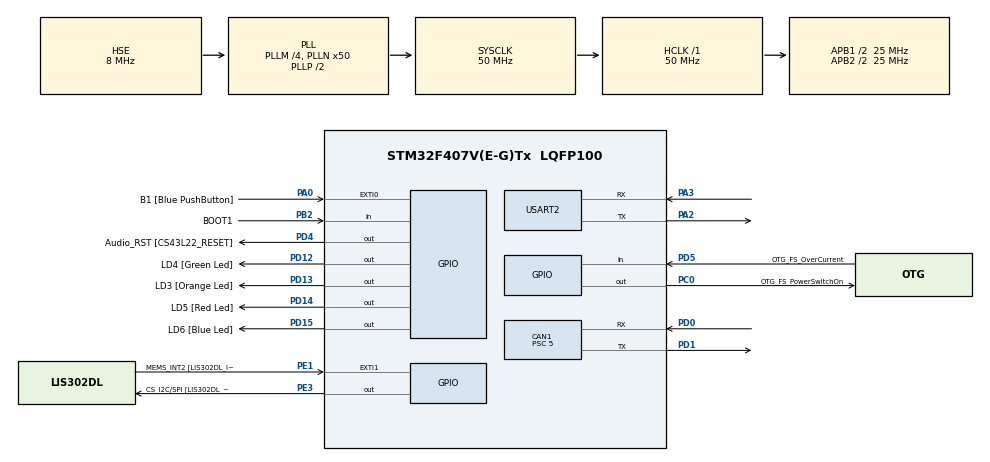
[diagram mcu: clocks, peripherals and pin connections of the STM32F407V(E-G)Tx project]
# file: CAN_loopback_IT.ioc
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CAN1.BS1=CAN_BS1_8TQ
CAN1.CalculateBaudRate=500000
CAN1.CalculateTimeBit=2000
CAN1.CalculateTimeQuantum=200.0
CAN1.Mode=CAN_MODE_LOOPBACK
CAN1.Prescaler=5
Mcu.Family=STM32F4
Mcu.Name=STM32F407V(E-G)Tx
Mcu.Package=LQFP100
NVIC.CAN1_RX0_IRQn=true\:0\:0\:false\:false\:true\:true\:true\:true
NVIC.CAN1_RX1_IRQn=true\:0\:0\:false\:false\:true\:true\:true\:true
NVIC.CAN1_SCE_IRQn=true\:0\:0\:false\:false\:true\:true\:true\:true
NVIC.CAN1_TX_IRQn=true\:0\:0\:false\:false\:true\:true\:true\:true
NVIC.PriorityGroup=NVIC_PRIORITYGROUP_0
PA0-WKUP.GPIO_Label=B1 [Blue PushButton]
PA0-WKUP.Signal=GPXTI0
PA10.GPIO_Label=OTG_FS_ID
PA10.GPIO_Mode=GPIO_MODE_AF_PP
PA10.GPIO_PuPd=GPIO_NOPULL
PA10.GPIO_Speed=GPIO_SPEED_FREQ_LOW
PA10.Signal=USB_OTG_FS_ID
PA11.GPIO_Label=OTG_FS_DM
PA11.GPIO_Mode=GPIO_MODE_AF_PP
PA11.GPIO_PuPd=GPIO_NOPULL
PA11.GPIO_Speed=GPIO_SPEED_FREQ_LOW
PA11.Signal=USB_OTG_FS_DM
PA12.GPIO_Label=OTG_FS_DP
PA12.GPIO_Mode=GPIO_MODE_AF_PP
PA12.GPIO_PuPd=GPIO_NOPULL
PA12.GPIO_Speed=GPIO_SPEED_FREQ_LOW
PA12.Signal=USB_OTG_FS_DP
PA13.GPIO_Label=SWDIO
PA13.Signal=SYS_JTMS-SWDIO
PA14.GPIO_Label=SWCLK
PA14.Signal=SYS_JTCK-SWCLK
PA2.Mode=Asynchronous
PA2.Signal=USART2_TX
PA3.Mode=Asynchronous
PA3.Signal=USART2_RX
PA4.GPIO_Label=I2S3_WS [CS43L22_LRCK]
PA4.GPIO_Mode=GPIO_MODE_AF_PP
PA4.GPIO_PuPd=GPIO_NOPULL
PA4.GPIO_Speed=GPIO_SPEED_FREQ_LOW
PA4.Signal=I2S3_WS
PA5.GPIO_Label=SPI1_SCK [LIS302DL_SCL/SPC]
PA5.GPIO_Mode=GPIO_MODE_AF_PP
PA5.GPIO_PuPd=GPIO_NOPULL
PA5.GPIO_Speed=GPIO_SPEED_FREQ_LOW
PA5.Signal=SPI1_SCK
PA6.GPIO_Label=SPI1_MISO [LIS302DL_SDO]
PA6.GPIO_Mode=GPIO_MODE_AF_PP
PA6.GPIO_PuPd=GPIO_NOPULL
PA6.GPIO_Speed=GPIO_SPEED_FREQ_LOW
PA6.Signal=SPI1_MISO
PA7.GPIO_Label=SPI1_MOSI [LIS302DL_SDA/SDI/SDO]
PA7.GPIO_Mode=GPIO_MODE_AF_PP
PA7.GPIO_PuPd=GPIO_NOPULL
PA7.GPIO_Speed=GPIO_SPEED_FREQ_LOW
PA7.Signal=SPI1_MOSI
PA9.GPIO_Label=VBUS_FS
PA9.GPIO_Mode=GPIO_MODE_INPUT
PA9.GPIO_PuPd=GPIO_NOPULL
PA9.Signal=USB_OTG_FS_VBUS
PB10.GPIO_Label=CLK_IN [MP45DT02_CLK]
PB10.GPIO_Mode=GPIO_MODE_AF_PP
PB10.GPIO_PuPd=GPIO_NOPULL
PB10.GPIO_Speed=GPIO_SPEED_FREQ_LOW
PB10.Signal=I2S2_CK
PB2.GPIO_Label=BOOT1
PB2.GPIO_Mode=GPIO_MODE_INPUT
PB2.GPIO_PuPd=GPIO_NOPULL
PB2.Signal=GPIO_Input
PB3.GPIO_Label=SWO
PB3.Signal=SYS_JTDO-SWO
PB6.GPIO_Label=Audio_SCL [CS43L22_SCL]
PB6.GPIO_Mode=GPIO_MODE_AF_OD
PB6.GPIO_PuPd=GPIO_NOPULL
PB6.GPIO_Speed=GPIO_SPEED_FREQ_LOW
PB6.Signal=I2C1_SCL
PB9.GPIO_Label=Audio_SDA [CS43L22_SDA]
PB9.GPIO_Mode=GPIO_MODE_AF_OD
PB9.GPIO_PuPd=GPIO_NOPULL
PB9.GPIO_Speed=GPIO_SPEED_FREQ_LOW
PB9.Signal=I2C1_SDA
PC0.GPIO_Label=OTG_FS_PowerSwitchOn
PC0.GPIO_PuPd=GPIO_NOPULL
PC0.GPIO_Speed=GPIO_SPEED_FREQ_LOW
PC0.PinState=GPIO_PIN_SET
PC0.Signal=GPIO_Output
PC10.GPIO_Label=I2S3_SCK [CS43L22_SCLK]
PC10.GPIO_Mode=GPIO_MODE_AF_PP
PC10.GPIO_PuPd=GPIO_NOPULL
PC10.GPIO_Speed=GPIO_SPEED_FREQ_LOW
PC10.Signal=I2S3_CK
PC12.GPIO_Label=I2S3_SD [CS43L22_SDIN]
PC12.GPIO_Mode=GPIO_MODE_AF_PP
PC12.GPIO_PuPd=GPIO_NOPULL
PC12.GPIO_Speed=GPIO_SPEED_FREQ_LOW
PC12.Signal=I2S3_SD
PC14-OSC32_IN.GPIO_Label=PC14-OSC32_IN
PC14-OSC32_IN.Signal=RCC_OSC32_IN
PC15-OSC32_OUT.GPIO_Label=PC15-OSC32_OUT
PC15-OSC32_OUT.Signal=RCC_OSC32_OUT
PC3.GPIO_Label=PDM_OUT [MP45DT02_DOUT]
PC3.GPIO_Mode=GPIO_MODE_AF_PP
PC3.GPIO_PuPd=GPIO_NOPULL
PC3.GPIO_Speed=GPIO_SPEED_FREQ_LOW
PC3.Signal=I2S2_SD
PC7.GPIO_Label=I2S3_MCK [CS43L22_MCLK]
PC7.GPIO_Mode=GPIO_MODE_AF_PP
PC7.GPIO_PuPd=GPIO_NOPULL
PC7.GPIO_Speed=GPIO_SPEED_FREQ_LOW
PC7.Signal=I2S3_MCK
PD0.Mode=CAN_Activate
PD0.Signal=CAN1_RX
PD1.Mode=CAN_Activate
PD1.Signal=CAN1_TX
PD12.GPIO_Label=LD4 [Green Led]
PD12.GPIO_PuPd=GPIO_NOPULL
PD12.GPIO_Speed=GPIO_SPEED_FREQ_LOW
PD12.Signal=GPIO_Output
PD13.GPIO_Label=LD3 [Orange Led]
PD13.GPIO_PuPd=GPIO_NOPULL
PD13.GPIO_Speed=GPIO_SPEED_FREQ_LOW
PD13.Signal=GPIO_Output
PD14.GPIO_Label=LD5 [Red Led]
PD14.GPIO_PuPd=GPIO_NOPULL
PD14.GPIO_Speed=GPIO_SPEED_FREQ_LOW
PD14.Signal=GPIO_Output
PD15.GPIO_Label=LD6 [Blue Led]
PD15.GPIO_PuPd=GPIO_NOPULL
PD15.GPIO_Speed=GPIO_SPEED_FREQ_LOW
PD15.Signal=GPIO_Output
PD4.GPIO_Label=Audio_RST [CS43L22_RESET]
PD4.GPIO_PuPd=GPIO_NOPULL
PD4.GPIO_Speed=GPIO_SPEED_FREQ_LOW
PD4.Signal=GPIO_Output
PD5.GPIO_Label=OTG_FS_OverCurrent
PD5.GPIO_Mode=GPIO_MODE_INPUT
PD5.GPIO_PuPd=GPIO_NOPULL
PD5.Signal=GPIO_Input
PE1.GPIO_Label=MEMS_INT2 [LIS302DL_INT2]
PE1.GPIO_ModeDefaultEXTI=GPIO_MODE_EVT_RISING
PE1.GPIO_PuPd=GPIO_NOPULL
PE1.Signal=GPXTI1
PE3.GPIO_Label=CS_I2C/SPI [LIS302DL_CS_I2C/SPI]
PE3.GPIO_PuPd=GPIO_NOPULL
PE3.GPIO_Speed=GPIO_SPEED_FREQ_LOW
PE3.Signal=GPIO_Output
PH0-OSC_IN.GPIO_Label=PH0-OSC_IN
PH0-OSC_IN.Mode=HSE-External-Oscillator
PH0-OSC_IN.Signal=RCC_OSC_IN
PH1-OSC_OUT.GPIO_Label=PH1-OSC_OUT
PH1-OSC_OUT.Mode=HSE-External-Oscillator
PH1-OSC_OUT.Signal=RCC_OSC_OUT
ProjectManager.HeapSize=0x200
ProjectManager.StackSize=0x400
ProjectManager.TargetToolchain=STM32CubeIDE
RCC.48MHZClocksFreq_Value=14285714.285714285
RCC.AHBFreq_Value=50000000
RCC.APB1CLKDivider=RCC_HCLK_DIV2
RCC.APB1Freq_Value=25000000
RCC.APB1TimFreq_Value=50000000
RCC.APB2CLKDivider=RCC_HCLK_DIV2
RCC.APB2Freq_Value=25000000
RCC.APB2TimFreq_Value=50000000
RCC.CortexFreq_Value=50000000
RCC.HCLKFreq_Value=50000000
RCC.HSE_VALUE=8000000
RCC.HSI_VALUE=16000000
RCC.LSE_VALUE=32768
RCC.PLLM=4
RCC.PLLN=50
RCC.PLLQ=7
RCC.PLLSourceVirtual=RCC_PLLSOURCE_HSE
RCC.SYSCLKFreq_VALUE=50000000
RCC.SYSCLKSource=RCC_SYSCLKSOURCE_PLLCLK
RCC.VCOOutputFreq_Value=100000000
USART2.VirtualMode=VM_ASYNC
board=STM32F407G-DISC1

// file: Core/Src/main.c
/* USER CODE BEGIN Header */
/**
 ******************************************************************************
 * @file           : main.c
 * @brief          : Main program body
 ******************************************************************************
 * @attention
 *
 * Copyright (c) 2024 STMicroelectronics.
 * All rights reserved.
 *
 * This software is licensed under terms that can be found in the LICENSE file
 * in the root directory of this software component.
 * If no LICENSE file comes with this software, it is provided AS-IS.
 *
 ******************************************************************************
 */
/* USER CODE END Header */
#include "main.h"

/* USER CODE BEGIN Includes */
#include <string.h>
#include <stdio.h>
/* USER CODE END Includes */

CAN_HandleTypeDef hcan1;

UART_HandleTypeDef huart2;

void SystemClock_Config(void);
static void MX_GPIO_Init(void);
static void MX_CAN1_Init(void);
static void MX_USART2_UART_Init(void);
/* USER CODE BEGIN PFP */
void CAN1_Tx(void);
void CAN_Filter_Config(void);

// Transmit Callback when transmit message is completed.
void HAL_CAN_TxMailbox0CompleteCallback(CAN_HandleTypeDef *hcan);
void HAL_CAN_TxMailbox1CompleteCallback(CAN_HandleTypeDef *hcan);
void HAL_CAN_TxMailbox2CompleteCallback(CAN_HandleTypeDef *hcan);
void HAL_CAN_RxFifo0MsgPendingCallback(CAN_HandleTypeDef *hcan);
void HAL_CAN_ErrorCallback(CAN_HandleTypeDef *hcan);
/* USER CODE END PFP */

/* USER CODE BEGIN 0 */
void CAN_Filter_Config(void) {
	/**
	 * Filter which message we want to receive.
	 * We will set to accept all.
	 * That's why the ID and Mask filter are all set to 0.
	 * We will use IDMASK, which just means ID mode.
	 */
	CAN_FilterTypeDef can1_filter_init;

	can1_filter_init.FilterActivation = ENABLE;
	can1_filter_init.FilterBank = 0;
	can1_filter_init.FilterFIFOAssignment = CAN_RX_FIFO0;
	can1_filter_init.FilterIdHigh = 0x0000;
	can1_filter_init.FilterIdLow = 0x0000;
	can1_filter_init.FilterMaskIdHigh = 0x0000;
	can1_filter_init.FilterMaskIdLow = 0x0000;
	can1_filter_init.FilterMode = CAN_FILTERMODE_IDMASK;
	can1_filter_init.FilterScale = CAN_FILTERSCALE_32BIT;

	if (HAL_CAN_ConfigFilter(&hcan1, &can1_filter_init) != HAL_OK) {
		Error_Handler();
	}

}

void CAN1_Tx(void) {

	// Define message.
	uint8_t hello[5] = { 'H', 'e', 'l', 'l', 'o' };

	// Define mailbox.
	uint32_t txMailbox;

	// Define header.
	CAN_TxHeaderTypeDef txHeader;
	txHeader.DLC = 5; // Data length count
	txHeader.StdId = 0x65D; // Arbitrary number
	txHeader.IDE = CAN_ID_STD; // Standard or External frame
	txHeader.RTR = CAN_RTR_DATA; // Type of frame: Data or request/remote

	// In this function, the mailbox will be updated.
	// 1. Trigger transmission here.
	if (HAL_CAN_AddTxMessage(&hcan1, &txHeader, (uint8_t*) hello, &txMailbox)
			!= HAL_OK) {
		char *error_msg = "Error while triggering transmit\r\n";
		HAL_UART_Transmit(&huart2, (uint8_t*) error_msg, strlen(error_msg),
		HAL_MAX_DELAY);
		Error_Handler();
	}

	// 2. We don't need to check if Message is not pending anymore.
	// Since we are just using interrupt.
}

/**
 * We don't know which mailbox will trigger the callback.
 * So we implement callback from all inbox.
 */
void HAL_CAN_TxMailbox0CompleteCallback(CAN_HandleTypeDef *hcan) {
	// 3. Bus is idle here, compete in arbitration. If arbitration wins,
	// transmit will succeed then the mailbox weill be empty again.
	char *msg = "Message transmitted Mailbox0\r\n";
	HAL_UART_Transmit(&huart2, (uint8_t*) msg, strlen(msg), HAL_MAX_DELAY);

}

void HAL_CAN_TxMailbox1CompleteCallback(CAN_HandleTypeDef *hcan) {

	char *msg = "Message transmitted Mailbox1 \r\n";
	HAL_UART_Transmit(&huart2, (uint8_t*) msg, strlen(msg), HAL_MAX_DELAY);

}

void HAL_CAN_TxMailbox2CompleteCallback(CAN_HandleTypeDef *hcan) {
	char *msg = "Message transmitted from Mailbox2 \r\n";
	HAL_UART_Transmit(&huart2, (uint8_t*) msg, strlen(msg), HAL_MAX_DELAY);

}

/**
 * Callback when message received in Fifo0.
 */
void HAL_CAN_RxFifo0MsgPendingCallback(CAN_HandleTypeDef *hcan) {
	CAN_RxHeaderTypeDef RxHeader;
	uint8_t rcvd_msg[5];

	// 1. We don't need to wait for message, we know we just received them.

	// 2. Get message from CAN Rx pin and store it in RxHeader.
	if (HAL_CAN_GetRxMessage(&hcan1, CAN_RX_FIFO0, &RxHeader, rcvd_msg)
			!= HAL_OK) {
		Error_Handler();
	}

	// 3. Log the received message to UART.
	char uart_msg[50];
	sprintf(uart_msg, "Message Received : %s\r\n", rcvd_msg);
	HAL_UART_Transmit(&huart2, (uint8_t*) uart_msg, strlen(uart_msg),
	HAL_MAX_DELAY);

}

void HAL_CAN_ErrorCallback(CAN_HandleTypeDef *hcan) {

}
/* USER CODE END 0 */

int main(void) {
	/* USER CODE BEGIN 1 */
	// 1. Hardware setup: Make sure to connext Rx to CAN.

	/* USER CODE END 1 */

	/* MCU Configuration--------------------------------------------------------*/

	/* Reset of all peripherals, Initializes the Flash interface and the Systick. */
	HAL_Init();

	/* Configure the system clock */
	SystemClock_Config();

	/* Initialize all configured peripherals */
	MX_GPIO_Init();
	MX_CAN1_Init();
	MX_USART2_UART_Init();

	/* Infinite loop */
	/* USER CODE BEGIN WHILE */

	// 1. Configure which message we want to receive.
	CAN_Filter_Config();

	// 2. Enable Interrupt.
	// This will enable the interrupt bit in the following registers: TMEIE, FMPIE0, BOFIE.
	if (HAL_CAN_ActivateNotification(&hcan1,
	CAN_IT_TX_MAILBOX_EMPTY | CAN_IT_RX_FIFO0_MSG_PENDING | CAN_IT_BUSOFF) != HAL_OK ) {
		Error_Handler();
	};

	// 3. Start the CAN module.
	if (HAL_CAN_Start(&hcan1) != HAL_OK) {
		Error_Handler();
	}

	// 4. Send once.
	CAN1_Tx();

	// 5. We don't need to call CAN1_Rx. Since callback will be called when message arrives
	// in FIFO0.

	while (1) {
		/* USER CODE END WHILE */

	}
}

void SystemClock_Config(void) {
	RCC_OscInitTypeDef RCC_OscInitStruct = { 0 };
	RCC_ClkInitTypeDef RCC_ClkInitStruct = { 0 };

	/** Configure the main internal regulator output voltage
	 */
	__HAL_RCC_PWR_CLK_ENABLE();
	__HAL_PWR_VOLTAGESCALING_CONFIG(PWR_REGULATOR_VOLTAGE_SCALE1);

	/** Initializes the RCC Oscillators according to the specified parameters
	 * in the RCC_OscInitTypeDef structure.
	 */
	RCC_OscInitStruct.OscillatorType = RCC_OSCILLATORTYPE_HSE;
	RCC_OscInitStruct.HSEState = RCC_HSE_ON;
	RCC_OscInitStruct.PLL.PLLState = RCC_PLL_ON;
	RCC_OscInitStruct.PLL.PLLSource = RCC_PLLSOURCE_HSE;
	RCC_OscInitStruct.PLL.PLLM = 4;
	RCC_OscInitStruct.PLL.PLLN = 50;
	RCC_OscInitStruct.PLL.PLLP = RCC_PLLP_DIV2;
	RCC_OscInitStruct.PLL.PLLQ = 7;
	if (HAL_RCC_OscConfig(&RCC_OscInitStruct) != HAL_OK) {
		Error_Handler();
	}

	/** Initializes the CPU, AHB and APB buses clocks
	 */
	RCC_ClkInitStruct.ClockType = RCC_CLOCKTYPE_HCLK | RCC_CLOCKTYPE_SYSCLK
			| RCC_CLOCKTYPE_PCLK1 | RCC_CLOCKTYPE_PCLK2;
	RCC_ClkInitStruct.SYSCLKSource = RCC_SYSCLKSOURCE_PLLCLK;
	RCC_ClkInitStruct.AHBCLKDivider = RCC_SYSCLK_DIV1;
	RCC_ClkInitStruct.APB1CLKDivider = RCC_HCLK_DIV2;
	RCC_ClkInitStruct.APB2CLKDivider = RCC_HCLK_DIV2;

	if (HAL_RCC_ClockConfig(&RCC_ClkInitStruct, FLASH_LATENCY_1) != HAL_OK) {
		Error_Handler();
	}
}

static void MX_CAN1_Init(void) {

	/* USER CODE BEGIN CAN1_Init 0 */
	// If there is no ACK, and AutoRetransmission is enabled,
	// then the controller will retransmit the message.
	// But this is not true in the loopback mode.
	// ACK errors will be ignored in loopback mode.
	// Question: If the mode is set to normal, not loopback, we cannot see the data in logic analyzer why?
	/* USER CODE END CAN1_Init 0 */

	/* USER CODE BEGIN CAN1_Init 1 */
	// FIFO Locked disable means we always want the latest message.
	/* USER CODE END CAN1_Init 1 */
	hcan1.Instance = CAN1;
	hcan1.Init.Prescaler = 5;
	hcan1.Init.Mode = CAN_MODE_LOOPBACK;
	hcan1.Init.SyncJumpWidth = CAN_SJW_1TQ;
	hcan1.Init.TimeSeg1 = CAN_BS1_8TQ;
	hcan1.Init.TimeSeg2 = CAN_BS2_1TQ;
	hcan1.Init.TimeTriggeredMode = DISABLE;
	hcan1.Init.AutoBusOff = DISABLE;
	hcan1.Init.AutoWakeUp = DISABLE;
	hcan1.Init.AutoRetransmission = DISABLE;
	hcan1.Init.ReceiveFifoLocked = DISABLE;
	hcan1.Init.TransmitFifoPriority = DISABLE;
	if (HAL_CAN_Init(&hcan1) != HAL_OK) {
		Error_Handler();
	}

}

static void MX_USART2_UART_Init(void) {

	huart2.Instance = USART2;
	huart2.Init.BaudRate = 115200;
	huart2.Init.WordLength = UART_WORDLENGTH_8B;
	huart2.Init.StopBits = UART_STOPBITS_1;
	huart2.Init.Parity = UART_PARITY_NONE;
	huart2.Init.Mode = UART_MODE_TX_RX;
	huart2.Init.HwFlowCtl = UART_HWCONTROL_NONE;
	huart2.Init.OverSampling = UART_OVERSAMPLING_16;
	if (HAL_UART_Init(&huart2) != HAL_OK) {
		Error_Handler();
	}

}

static void MX_GPIO_Init(void) {
	GPIO_InitTypeDef GPIO_InitStruct = { 0 };

	/* GPIO Ports Clock Enable */
	__HAL_RCC_GPIOE_CLK_ENABLE();
	__HAL_RCC_GPIOC_CLK_ENABLE();
	__HAL_RCC_GPIOH_CLK_ENABLE();
	__HAL_RCC_GPIOA_CLK_ENABLE();
	__HAL_RCC_GPIOB_CLK_ENABLE();
	__HAL_RCC_GPIOD_CLK_ENABLE();

	/*Configure GPIO pin Output Level */
	HAL_GPIO_WritePin(CS_I2C_SPI_GPIO_Port, CS_I2C_SPI_Pin, GPIO_PIN_RESET);

	/*Configure GPIO pin Output Level */
	HAL_GPIO_WritePin(OTG_FS_PowerSwitchOn_GPIO_Port,
	OTG_FS_PowerSwitchOn_Pin, GPIO_PIN_SET);

	/*Configure GPIO pin Output Level */
	HAL_GPIO_WritePin(GPIOD,
	LD4_Pin | LD3_Pin | LD5_Pin | LD6_Pin | Audio_RST_Pin, GPIO_PIN_RESET);

	/*Configure GPIO pin : CS_I2C_SPI_Pin */
	GPIO_InitStruct.Pin = CS_I2C_SPI_Pin;
	GPIO_InitStruct.Mode = GPIO_MODE_OUTPUT_PP;
	GPIO_InitStruct.Pull = GPIO_NOPULL;
	GPIO_InitStruct.Speed = GPIO_SPEED_FREQ_LOW;
	HAL_GPIO_Init(CS_I2C_SPI_GPIO_Port, &GPIO_InitStruct);

	/*Configure GPIO pin : OTG_FS_PowerSwitchOn_Pin */
	GPIO_InitStruct.Pin = OTG_FS_PowerSwitchOn_Pin;
	GPIO_InitStruct.Mode = GPIO_MODE_OUTPUT_PP;
	GPIO_InitStruct.Pull = GPIO_NOPULL;
	GPIO_InitStruct.Speed = GPIO_SPEED_FREQ_LOW;
	HAL_GPIO_Init(OTG_FS_PowerSwitchOn_GPIO_Port, &GPIO_InitStruct);

	/*Configure GPIO pin : PDM_OUT_Pin */
	GPIO_InitStruct.Pin = PDM_OUT_Pin;
	GPIO_InitStruct.Mode = GPIO_MODE_AF_PP;
	GPIO_InitStruct.Pull = GPIO_NOPULL;
	GPIO_InitStruct.Speed = GPIO_SPEED_FREQ_LOW;
	GPIO_InitStruct.Alternate = GPIO_AF5_SPI2;
	HAL_GPIO_Init(PDM_OUT_GPIO_Port, &GPIO_InitStruct);

	/*Configure GPIO pin : B1_Pin */
	GPIO_InitStruct.Pin = B1_Pin;
	GPIO_InitStruct.Mode = GPIO_MODE_IT_RISING;
	GPIO_InitStruct.Pull = GPIO_NOPULL;
	HAL_GPIO_Init(B1_GPIO_Port, &GPIO_InitStruct);

	/*Configure GPIO pin : I2S3_WS_Pin */
	GPIO_InitStruct.Pin = I2S3_WS_Pin;
	GPIO_InitStruct.Mode = GPIO_MODE_AF_PP;
	GPIO_InitStruct.Pull = GPIO_NOPULL;
	GPIO_InitStruct.Speed = GPIO_SPEED_FREQ_LOW;
	GPIO_InitStruct.Alternate = GPIO_AF6_SPI3;
	HAL_GPIO_Init(I2S3_WS_GPIO_Port, &GPIO_InitStruct);

	/*Configure GPIO pins : SPI1_SCK_Pin SPI1_MISO_Pin SPI1_MOSI_Pin */
	GPIO_InitStruct.Pin = SPI1_SCK_Pin | SPI1_MISO_Pin | SPI1_MOSI_Pin;
	GPIO_InitStruct.Mode = GPIO_MODE_AF_PP;
	GPIO_InitStruct.Pull = GPIO_NOPULL;
	GPIO_InitStruct.Speed = GPIO_SPEED_FREQ_LOW;
	GPIO_InitStruct.Alternate = GPIO_AF5_SPI1;
	HAL_GPIO_Init(GPIOA, &GPIO_InitStruct);

	/*Configure GPIO pin : BOOT1_Pin */
	GPIO_InitStruct.Pin = BOOT1_Pin;
	GPIO_InitStruct.Mode = GPIO_MODE_INPUT;
	GPIO_InitStruct.Pull = GPIO_NOPULL;
	HAL_GPIO_Init(BOOT1_GPIO_Port, &GPIO_InitStruct);

	/*Configure GPIO pin : CLK_IN_Pin */
	GPIO_InitStruct.Pin = CLK_IN_Pin;
	GPIO_InitStruct.Mode = GPIO_MODE_AF_PP;
	GPIO_InitStruct.Pull = GPIO_NOPULL;
	GPIO_InitStruct.Speed = GPIO_SPEED_FREQ_LOW;
	GPIO_InitStruct.Alternate = GPIO_AF5_SPI2;
	HAL_GPIO_Init(CLK_IN_GPIO_Port, &GPIO_InitStruct);

	/*Configure GPIO pins : LD4_Pin LD3_Pin LD5_Pin LD6_Pin
	 Audio_RST_Pin */
	GPIO_InitStruct.Pin = LD4_Pin | LD3_Pin | LD5_Pin | LD6_Pin | Audio_RST_Pin;
	GPIO_InitStruct.Mode = GPIO_MODE_OUTPUT_PP;
	GPIO_InitStruct.Pull = GPIO_NOPULL;
	GPIO_InitStruct.Speed = GPIO_SPEED_FREQ_LOW;
	HAL_GPIO_Init(GPIOD, &GPIO_InitStruct);

	/*Configure GPIO pins : I2S3_MCK_Pin I2S3_SCK_Pin I2S3_SD_Pin */
	GPIO_InitStruct.Pin = I2S3_MCK_Pin | I2S3_SCK_Pin | I2S3_SD_Pin;
	GPIO_InitStruct.Mode = GPIO_MODE_AF_PP;
	GPIO_InitStruct.Pull = GPIO_NOPULL;
	GPIO_InitStruct.Speed = GPIO_SPEED_FREQ_LOW;
	GPIO_InitStruct.Alternate = GPIO_AF6_SPI3;
	HAL_GPIO_Init(GPIOC, &GPIO_InitStruct);

	/*Configure GPIO pin : VBUS_FS_Pin */
	GPIO_InitStruct.Pin = VBUS_FS_Pin;
	GPIO_InitStruct.Mode = GPIO_MODE_INPUT;
	GPIO_InitStruct.Pull = GPIO_NOPULL;
	HAL_GPIO_Init(VBUS_FS_GPIO_Port, &GPIO_InitStruct);

	/*Configure GPIO pins : OTG_FS_ID_Pin OTG_FS_DM_Pin OTG_FS_DP_Pin */
	GPIO_InitStruct.Pin = OTG_FS_ID_Pin | OTG_FS_DM_Pin | OTG_FS_DP_Pin;
	GPIO_InitStruct.Mode = GPIO_MODE_AF_PP;
	GPIO_InitStruct.Pull = GPIO_NOPULL;
	GPIO_InitStruct.Speed = GPIO_SPEED_FREQ_LOW;
	GPIO_InitStruct.Alternate = GPIO_AF10_OTG_FS;
	HAL_GPIO_Init(GPIOA, &GPIO_InitStruct);

	/*Configure GPIO pin : OTG_FS_OverCurrent_Pin */
	GPIO_InitStruct.Pin = OTG_FS_OverCurrent_Pin;
	GPIO_InitStruct.Mode = GPIO_MODE_INPUT;
	GPIO_InitStruct.Pull = GPIO_NOPULL;
	HAL_GPIO_Init(OTG_FS_OverCurrent_GPIO_Port, &GPIO_InitStruct);

	/*Configure GPIO pins : Audio_SCL_Pin Audio_SDA_Pin */
	GPIO_InitStruct.Pin = Audio_SCL_Pin | Audio_SDA_Pin;
	GPIO_InitStruct.Mode = GPIO_MODE_AF_OD;
	GPIO_InitStruct.Pull = GPIO_NOPULL;
	GPIO_InitStruct.Speed = GPIO_SPEED_FREQ_LOW;
	GPIO_InitStruct.Alternate = GPIO_AF4_I2C1;
	HAL_GPIO_Init(GPIOB, &GPIO_InitStruct);

	/*Configure GPIO pin : MEMS_INT2_Pin */
	GPIO_InitStruct.Pin = MEMS_INT2_Pin;
	GPIO_InitStruct.Mode = GPIO_MODE_EVT_RISING;
	GPIO_InitStruct.Pull = GPIO_NOPULL;
	HAL_GPIO_Init(MEMS_INT2_GPIO_Port, &GPIO_InitStruct);

}

void Error_Handler(void) {
	__disable_irq();
	while (1) {
	}
}
